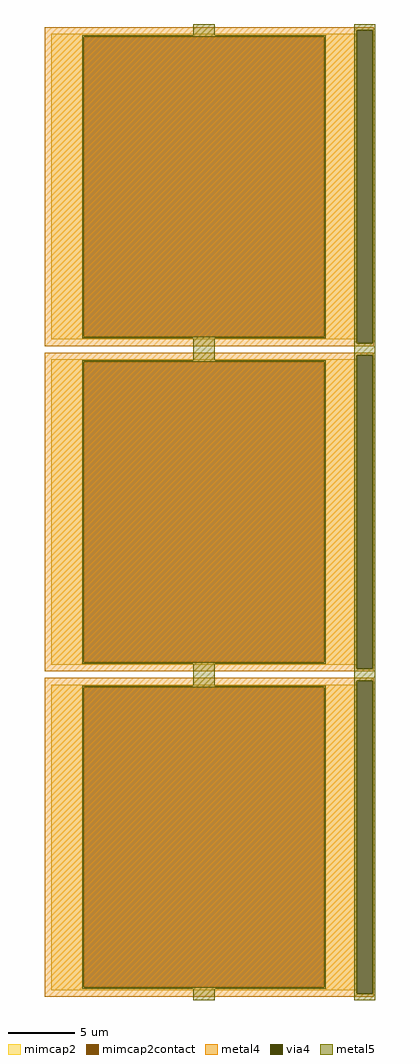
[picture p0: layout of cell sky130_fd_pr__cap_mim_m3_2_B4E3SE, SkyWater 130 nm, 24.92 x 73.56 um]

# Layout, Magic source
magic
tech sky130A
magscale 1 2
<< metal4 >>
rect -2481 7265 2481 7306
rect -2481 2543 2225 7265
rect 2461 2543 2481 7265
rect -2481 2502 2481 2543
rect -2481 2361 2481 2402
rect -2481 -2361 2225 2361
rect 2461 -2361 2481 2361
rect -2481 -2402 2481 -2361
rect -2481 -2543 2481 -2502
rect -2481 -7265 2225 -2543
rect 2461 -7265 2481 -2543
rect -2481 -7306 2481 -7265
<< via4 >>
rect 2225 2543 2461 7265
rect 2225 -2361 2461 2361
rect 2225 -7265 2461 -2543
<< mimcap2 >>
rect -2381 7166 2223 7206
rect -2381 2642 -1889 7166
rect 1731 2642 2223 7166
rect -2381 2602 2223 2642
rect -2381 2262 2223 2302
rect -2381 -2262 -1889 2262
rect 1731 -2262 2223 2262
rect -2381 -2302 2223 -2262
rect -2381 -2642 2223 -2602
rect -2381 -7166 -1889 -2642
rect 1731 -7166 2223 -2642
rect -2381 -7206 2223 -7166
<< mimcap2contact >>
rect -1889 2642 1731 7166
rect -1889 -2262 1731 2262
rect -1889 -7166 1731 -2642
<< metal5 >>
rect -239 7190 81 7356
rect 2183 7265 2503 7356
rect -1913 7166 1755 7190
rect -1913 2642 -1889 7166
rect 1731 2642 1755 7166
rect -1913 2618 1755 2642
rect -239 2286 81 2618
rect 2183 2543 2225 7265
rect 2461 2543 2503 7265
rect 2183 2361 2503 2543
rect -1913 2262 1755 2286
rect -1913 -2262 -1889 2262
rect 1731 -2262 1755 2262
rect -1913 -2286 1755 -2262
rect -239 -2618 81 -2286
rect 2183 -2361 2225 2361
rect 2461 -2361 2503 2361
rect 2183 -2543 2503 -2361
rect -1913 -2642 1755 -2618
rect -1913 -7166 -1889 -2642
rect 1731 -7166 1755 -2642
rect -1913 -7190 1755 -7166
rect -239 -7356 81 -7190
rect 2183 -7265 2225 -2543
rect 2461 -7265 2503 -2543
rect 2183 -7356 2503 -7265
<< properties >>
string FIXED_BBOX -2481 2502 2323 7306
string gencell sky130_fd_pr__cap_mim_m3_2
string library sky130
string parameters w 23.016 l 23.016 val 1.076k carea 2.00 cperi 0.19 nx 1 ny 3 dummy 0 square 0 lmin 2.00 wmin 2.00 lmax 30.0 wmax 30.0 dc 0 bconnect 1 tconnect 1 ccov 80
<< end >>
